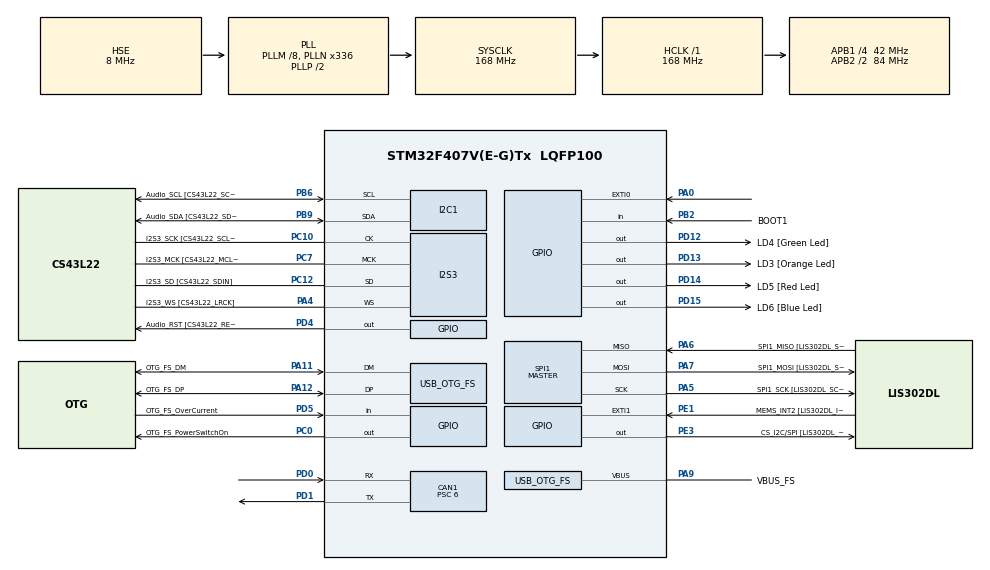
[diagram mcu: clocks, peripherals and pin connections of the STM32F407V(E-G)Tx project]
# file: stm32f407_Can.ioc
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CAN1.BS1=CAN_BS1_11TQ
CAN1.BS2=CAN_BS2_2TQ
CAN1.CalculateBaudRate=500000
CAN1.CalculateTimeBit=2000
CAN1.CalculateTimeQuantum=142.85714285714286
CAN1.Mode=CAN_MODE_NORMAL
CAN1.Prescaler=6
I2S3.AudioFreq-Half_Duplex_Master=I2S_AUDIOFREQ_96K
I2S3.ErrorAudioFreq=-2.34 %
I2S3.ErrorAudioFreq-Half_Duplex_Master=0.8 %
I2S3.FullDuplexMode=I2S_FULLDUPLEXMODE_DISABLE
I2S3.Instance=SPI$Index
I2S3.RealAudioFreq=93.75 KHz
I2S3.RealAudioFreq-Half_Duplex_Master=96.774 KHz
I2S3.VirtualMode=I2S_MODE_MASTER
Mcu.Family=STM32F4
Mcu.Name=STM32F407V(E-G)Tx
Mcu.Package=LQFP100
NVIC.CAN1_RX0_IRQn=true\:0\:0\:false\:false\:true\:true\:true\:true
NVIC.EXTI0_IRQn=true\:0\:0\:false\:false\:true\:true\:true\:true
NVIC.OTG_FS_IRQn=true\:0\:0\:false\:false\:true\:true\:true\:true
NVIC.PriorityGroup=NVIC_PRIORITYGROUP_0
PA0-WKUP.Signal=GPXTI0
PA10.GPIO_Label=OTG_FS_ID
PA10.GPIO_Mode=GPIO_MODE_AF_PP
PA10.GPIO_PuPd=GPIO_NOPULL
PA10.GPIO_Speed=GPIO_SPEED_FREQ_LOW
PA10.Signal=USB_OTG_FS_ID
PA11.GPIO_Label=OTG_FS_DM
PA11.GPIO_Mode=GPIO_MODE_AF_PP
PA11.GPIO_PuPd=GPIO_NOPULL
PA11.GPIO_Speed=GPIO_SPEED_FREQ_LOW
PA11.Mode=Host_Only
PA11.Signal=USB_OTG_FS_DM
PA12.GPIO_Label=OTG_FS_DP
PA12.GPIO_Mode=GPIO_MODE_AF_PP
PA12.GPIO_PuPd=GPIO_NOPULL
PA12.GPIO_Speed=GPIO_SPEED_FREQ_LOW
PA12.Mode=Host_Only
PA12.Signal=USB_OTG_FS_DP
PA13.GPIO_Label=SWDIO
PA13.Mode=Serial_Wire
PA13.Signal=SYS_JTMS-SWDIO
PA14.GPIO_Label=SWCLK
PA14.Mode=Serial_Wire
PA14.Signal=SYS_JTCK-SWCLK
PA4.GPIO_Label=I2S3_WS [CS43L22_LRCK]
PA4.GPIO_Mode=GPIO_MODE_AF_PP
PA4.GPIO_PuPd=GPIO_NOPULL
PA4.GPIO_Speed=GPIO_SPEED_FREQ_LOW
PA4.Mode=Half_Duplex_Master
PA4.Signal=I2S3_WS
PA5.GPIO_Label=SPI1_SCK [LIS302DL_SCL/SPC]
PA5.GPIO_Mode=GPIO_MODE_AF_PP
PA5.GPIO_PuPd=GPIO_NOPULL
PA5.GPIO_Speed=GPIO_SPEED_FREQ_LOW
PA5.Mode=Full_Duplex_Master
PA5.Signal=SPI1_SCK
PA6.GPIO_Label=SPI1_MISO [LIS302DL_SDO]
PA6.GPIO_Mode=GPIO_MODE_AF_PP
PA6.GPIO_PuPd=GPIO_NOPULL
PA6.GPIO_Speed=GPIO_SPEED_FREQ_LOW
PA6.Mode=Full_Duplex_Master
PA6.Signal=SPI1_MISO
PA7.GPIO_Label=SPI1_MOSI [LIS302DL_SDA/SDI/SDO]
PA7.GPIO_Mode=GPIO_MODE_AF_PP
PA7.GPIO_PuPd=GPIO_NOPULL
PA7.GPIO_Speed=GPIO_SPEED_FREQ_LOW
PA7.Mode=Full_Duplex_Master
PA7.Signal=SPI1_MOSI
PA9.GPIO_Label=VBUS_FS
PA9.GPIO_Mode=GPIO_MODE_INPUT
PA9.GPIO_PuPd=GPIO_NOPULL
PA9.Mode=Activate_VBUS
PA9.Signal=USB_OTG_FS_VBUS
PB10.GPIO_Label=CLK_IN [MP45DT02_CLK]
PB10.GPIO_Mode=GPIO_MODE_AF_PP
PB10.GPIO_PuPd=GPIO_NOPULL
PB10.GPIO_Speed=GPIO_SPEED_FREQ_LOW
PB10.Signal=I2S2_CK
PB2.GPIO_Label=BOOT1
PB2.GPIO_Mode=GPIO_MODE_INPUT
PB2.GPIO_PuPd=GPIO_NOPULL
PB2.Signal=GPIO_Input
PB3.GPIO_Label=SWO
PB3.Signal=SYS_JTDO-SWO
PB6.GPIO_Label=Audio_SCL [CS43L22_SCL]
PB6.GPIO_Mode=GPIO_MODE_AF_OD
PB6.GPIO_Pu=GPIO_PULLUP
PB6.GPIO_PuPd=GPIO_NOPULL
PB6.GPIO_Speed=GPIO_SPEED_FREQ_LOW
PB6.Mode=I2C
PB6.Signal=I2C1_SCL
PB9.GPIO_Label=Audio_SDA [CS43L22_SDA]
PB9.GPIO_Mode=GPIO_MODE_AF_OD
PB9.GPIO_Pu=GPIO_PULLUP
PB9.GPIO_PuPd=GPIO_NOPULL
PB9.GPIO_Speed=GPIO_SPEED_FREQ_LOW
PB9.Mode=I2C
PB9.Signal=I2C1_SDA
PC0.GPIO_Label=OTG_FS_PowerSwitchOn
PC0.GPIO_PuPd=GPIO_NOPULL
PC0.GPIO_Speed=GPIO_SPEED_FREQ_LOW
PC0.PinState=GPIO_PIN_SET
PC0.Signal=GPIO_Output
PC10.GPIO_Label=I2S3_SCK [CS43L22_SCLK]
PC10.GPIO_Mode=GPIO_MODE_AF_PP
PC10.GPIO_PuPd=GPIO_NOPULL
PC10.GPIO_Speed=GPIO_SPEED_FREQ_LOW
PC10.Mode=Half_Duplex_Master
PC10.Signal=I2S3_CK
PC12.GPIO_Label=I2S3_SD [CS43L22_SDIN]
PC12.GPIO_Mode=GPIO_MODE_AF_PP
PC12.GPIO_PuPd=GPIO_NOPULL
PC12.GPIO_Speed=GPIO_SPEED_FREQ_LOW
PC12.Mode=Half_Duplex_Master
PC12.Signal=I2S3_SD
PC14-OSC32_IN.GPIO_Label=PC14-OSC32_IN
PC14-OSC32_IN.Mode=LSE-External-Oscillator
PC14-OSC32_IN.Signal=RCC_OSC32_IN
PC15-OSC32_OUT.GPIO_Label=PC15-OSC32_OUT
PC15-OSC32_OUT.Mode=LSE-External-Oscillator
PC15-OSC32_OUT.Signal=RCC_OSC32_OUT
PC3.GPIO_Label=PDM_OUT [MP45DT02_DOUT]
PC3.GPIO_Mode=GPIO_MODE_AF_PP
PC3.GPIO_PuPd=GPIO_NOPULL
PC3.GPIO_Speed=GPIO_SPEED_FREQ_LOW
PC3.Signal=I2S2_SD
PC7.GPIO_Label=I2S3_MCK [CS43L22_MCLK]
PC7.GPIO_Mode=GPIO_MODE_AF_PP
PC7.GPIO_PuPd=GPIO_NOPULL
PC7.GPIO_Speed=GPIO_SPEED_FREQ_LOW
PC7.Mode=Master_Clock_Activated
PC7.Signal=I2S3_MCK
PD0.GPIO_PuPd=GPIO_PULLUP
PD0.Mode=CAN_Activate
PD0.Signal=CAN1_RX
PD1.Mode=CAN_Activate
PD1.Signal=CAN1_TX
PD12.GPIO_Label=LD4 [Green Led]
PD12.GPIO_PuPd=GPIO_NOPULL
PD12.GPIO_Speed=GPIO_SPEED_FREQ_LOW
PD12.Signal=GPIO_Output
PD13.GPIO_Label=LD3 [Orange Led]
PD13.GPIO_PuPd=GPIO_NOPULL
PD13.GPIO_Speed=GPIO_SPEED_FREQ_LOW
PD13.Signal=GPIO_Output
PD14.GPIO_Label=LD5 [Red Led]
PD14.GPIO_PuPd=GPIO_NOPULL
PD14.GPIO_Speed=GPIO_SPEED_FREQ_LOW
PD14.Signal=GPIO_Output
PD15.GPIO_Label=LD6 [Blue Led]
PD15.GPIO_PuPd=GPIO_NOPULL
PD15.GPIO_Speed=GPIO_SPEED_FREQ_LOW
PD15.Signal=GPIO_Output
PD4.GPIO_Label=Audio_RST [CS43L22_RESET]
PD4.GPIO_PuPd=GPIO_NOPULL
PD4.GPIO_Speed=GPIO_SPEED_FREQ_LOW
PD4.Signal=GPIO_Output
PD5.GPIO_Label=OTG_FS_OverCurrent
PD5.GPIO_Mode=GPIO_MODE_INPUT
PD5.GPIO_PuPd=GPIO_NOPULL
PD5.Signal=GPIO_Input
PE1.GPIO_Label=MEMS_INT2 [LIS302DL_INT2]
PE1.GPIO_ModeDefaultEXTI=GPIO_MODE_EVT_RISING
PE1.GPIO_PuPd=GPIO_NOPULL
PE1.Signal=GPXTI1
PE3.GPIO_Label=CS_I2C/SPI [LIS302DL_CS_I2C/SPI]
PE3.GPIO_PuPd=GPIO_NOPULL
PE3.GPIO_Speed=GPIO_SPEED_FREQ_LOW
PE3.Signal=GPIO_Output
PH0-OSC_IN.GPIO_Label=PH0-OSC_IN
PH0-OSC_IN.Mode=HSE-External-Oscillator
PH0-OSC_IN.Signal=RCC_OSC_IN
PH1-OSC_OUT.GPIO_Label=PH1-OSC_OUT
PH1-OSC_OUT.Mode=HSE-External-Oscillator
PH1-OSC_OUT.Signal=RCC_OSC_OUT
ProjectManager.HeapSize=0x200
ProjectManager.StackSize=0x400
ProjectManager.TargetToolchain=MDK-ARM V5.32
RCC.48MHZClocksFreq_Value=48000000
RCC.AHBFreq_Value=168000000
RCC.APB1CLKDivider=RCC_HCLK_DIV4
RCC.APB1Freq_Value=42000000
RCC.APB1TimFreq_Value=84000000
RCC.APB2CLKDivider=RCC_HCLK_DIV2
RCC.APB2Freq_Value=84000000
RCC.APB2TimFreq_Value=168000000
RCC.CortexFreq_Value=168000000
RCC.HCLKFreq_Value=168000000
RCC.HSE_VALUE=8000000
RCC.HSI_VALUE=16000000
RCC.PLLM=8
RCC.PLLN=336
RCC.PLLQ=7
RCC.SYSCLKFreq_VALUE=168000000
RCC.SYSCLKSource=RCC_SYSCLKSOURCE_PLLCLK
RCC.VCOOutputFreq_Value=336000000
SPI1.BaudRatePrescaler-Full_Duplex_Master=SPI_BAUDRATEPRESCALER_2
SPI1.CalculateBaudRate-Full_Duplex_Master=42.0 MBits/s
SPI1.Direction=SPI_DIRECTION_2LINES
SPI1.Mode=SPI_MODE_MASTER
SPI1.Mode-Full_Duplex_Master=SPI_MODE_MASTER
SPI1.VirtualType=VM_MASTER
USB_HOST.BSP.number=1
USB_HOST.USBH_HandleTypeDef-CDC_FS=hUsbHostFS
USB_HOST.VirtualModeFS=Cdc
USB_HOST0.BSP.STBoard=false
USB_HOST0.BSP.api=Unknown
USB_HOST0.BSP.instance=PC0
USB_HOST0.BSP.ip=GPIO
USB_HOST0.BSP.mode=Output
USB_HOST0.BSP.name=Drive_VBUS_FS
USB_HOST0.BSP.solution=PC0
USB_OTG_FS.VirtualMode=Host_Only
USB_OTG_FS.phy_itface=HCD_PHY_EMBEDDED
VP_USB_HOST_VS_USB_HOST_CDC_FS.Mode=CDC_FS
board=STM32F407G-DISC1

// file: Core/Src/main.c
/* USER CODE BEGIN Header */
/**
  ******************************************************************************
  * @file           : main.c
  * @brief          : Main program body
  ******************************************************************************
  * @attention
  *
  * Copyright (c) 2024 STMicroelectronics.
  * All rights reserved.
  *
  * This software is licensed under terms that can be found in the LICENSE file
  * in the root directory of this software component.
  * If no LICENSE file comes with this software, it is provided AS-IS.
  *
  ******************************************************************************
  */
/* USER CODE END Header */
#include "main.h"
#include "usb_host.h"

CAN_HandleTypeDef hcan1;

I2C_HandleTypeDef hi2c1;

I2S_HandleTypeDef hi2s3;

SPI_HandleTypeDef hspi1;

void SystemClock_Config(void);
static void MX_GPIO_Init(void);
static void MX_CAN1_Init(void);
static void MX_I2C1_Init(void);
static void MX_I2S3_Init(void);
static void MX_SPI1_Init(void);
void MX_USB_HOST_Process(void);

/* USER CODE BEGIN PFP */
void HAL_GPIO_EXTI_Callback(uint16_t GPIO_Pin);
void HAL_CAN_RxFifo0MsgPendingCallback(CAN_HandleTypeDef *hcan);
/* USER CODE END PFP */

/* USER CODE BEGIN 0 */

CAN_TxHeaderTypeDef txHeader;
CAN_RxHeaderTypeDef rxHeader;

uint32_t TxMailbox;
uint8_t rxData[8];
uint8_t txData[8] = {'T','E','S','T' };
int datacheck = 0;

/* USER CODE END 0 */

int main(void)
{

  /* MCU Configuration--------------------------------------------------------*/

  /* Reset of all peripherals, Initializes the Flash interface and the Systick. */
  HAL_Init();

  /* Configure the system clock */
  SystemClock_Config();

  /* Initialize all configured peripherals */
  MX_GPIO_Init();
  MX_CAN1_Init();
  MX_I2C1_Init();
  MX_I2S3_Init();
  MX_SPI1_Init();
  MX_USB_HOST_Init();
  /* USER CODE BEGIN 2 */
	if(HAL_CAN_Start(&hcan1))
	{
		Error_Handler();
	}
	if(HAL_CAN_ActivateNotification(&hcan1, CAN_IT_RX_FIFO0_MSG_PENDING) != HAL_OK)
	{
		Error_Handler();
	}
	txHeader.DLC = 4;
	txHeader.IDE = CAN_ID_STD;
	txHeader.RTR = CAN_RTR_DATA;
	txHeader.StdId = 0x407;

	HAL_CAN_AddTxMessage(&hcan1, &txHeader, txData, &TxMailbox);
	txHeader.DLC = 2;
  /* USER CODE END 2 */

  /* Infinite loop */
  while (1)
  {
    MX_USB_HOST_Process();
		HAL_CAN_AddTxMessage(&hcan1, &txHeader, txData, &TxMailbox);
    /* USER CODE BEGIN 3 */
		if(datacheck)
		{
			HAL_GPIO_TogglePin(GPIOD,GPIO_PIN_12);
			HAL_Delay(1000);
			HAL_GPIO_TogglePin(GPIOD,GPIO_PIN_12);
			HAL_Delay(1000);
			datacheck = 0;
		}

  }
  /* USER CODE END 3 */
}

void SystemClock_Config(void)
{
  RCC_OscInitTypeDef RCC_OscInitStruct = {0};
  RCC_ClkInitTypeDef RCC_ClkInitStruct = {0};

  /** Configure the main internal regulator output voltage
  */
  __HAL_RCC_PWR_CLK_ENABLE();
  __HAL_PWR_VOLTAGESCALING_CONFIG(PWR_REGULATOR_VOLTAGE_SCALE1);

  /** Initializes the RCC Oscillators according to the specified parameters
  * in the RCC_OscInitTypeDef structure.
  */
  RCC_OscInitStruct.OscillatorType = RCC_OSCILLATORTYPE_HSE;
  RCC_OscInitStruct.HSEState = RCC_HSE_ON;
  RCC_OscInitStruct.PLL.PLLState = RCC_PLL_ON;
  RCC_OscInitStruct.PLL.PLLSource = RCC_PLLSOURCE_HSE;
  RCC_OscInitStruct.PLL.PLLM = 8;
  RCC_OscInitStruct.PLL.PLLN = 336;
  RCC_OscInitStruct.PLL.PLLP = RCC_PLLP_DIV2;
  RCC_OscInitStruct.PLL.PLLQ = 7;
  if (HAL_RCC_OscConfig(&RCC_OscInitStruct) != HAL_OK)
  {
    Error_Handler();
  }

  /** Initializes the CPU, AHB and APB buses clocks
  */
  RCC_ClkInitStruct.ClockType = RCC_CLOCKTYPE_HCLK|RCC_CLOCKTYPE_SYSCLK
                              |RCC_CLOCKTYPE_PCLK1|RCC_CLOCKTYPE_PCLK2;
  RCC_ClkInitStruct.SYSCLKSource = RCC_SYSCLKSOURCE_PLLCLK;
  RCC_ClkInitStruct.AHBCLKDivider = RCC_SYSCLK_DIV1;
  RCC_ClkInitStruct.APB1CLKDivider = RCC_HCLK_DIV4;
  RCC_ClkInitStruct.APB2CLKDivider = RCC_HCLK_DIV2;

  if (HAL_RCC_ClockConfig(&RCC_ClkInitStruct, FLASH_LATENCY_5) != HAL_OK)
  {
    Error_Handler();
  }
}

static void MX_CAN1_Init(void)
{

  hcan1.Instance = CAN1;
  hcan1.Init.Prescaler = 6;
  hcan1.Init.Mode = CAN_MODE_NORMAL;
  hcan1.Init.SyncJumpWidth = CAN_SJW_1TQ;
  hcan1.Init.TimeSeg1 = CAN_BS1_11TQ;
  hcan1.Init.TimeSeg2 = CAN_BS2_2TQ;
  hcan1.Init.TimeTriggeredMode = DISABLE;
  hcan1.Init.AutoBusOff = DISABLE;
  hcan1.Init.AutoWakeUp = DISABLE;
  hcan1.Init.AutoRetransmission = DISABLE;
  hcan1.Init.ReceiveFifoLocked = DISABLE;
  hcan1.Init.TransmitFifoPriority = DISABLE;
  if (HAL_CAN_Init(&hcan1) != HAL_OK)
  {
    Error_Handler();
  }
  /* USER CODE BEGIN CAN1_Init 2 */
//	CAN_FilterTypeDef CanFilter;
//	CanFilter.FilterActivation = CAN_FILTER_ENABLE;
//	CanFilter.FilterBank = 0;
//	CanFilter.FilterFIFOAssignment = CAN_FILTER_FIFO0;
//	CanFilter.FilterIdHigh = 0;
//	CanFilter.FilterIdLow = 0;
//	CanFilter.FilterMaskIdHigh = 0;
//	CanFilter.FilterMaskIdLow = 0;
//	CanFilter.FilterMode = CAN_FILTERMODE_IDMASK;
//	CanFilter.FilterScale = CAN_FILTERSCALE_32BIT;
//	CanFilter.SlaveStartFilterBank = 20;
//	if(HAL_CAN_ConfigFilter(&hcan1, &CanFilter) != HAL_OK)
//	{
//		Error_Handler();
//	}
  /* USER CODE END CAN1_Init 2 */

}

static void MX_I2C1_Init(void)
{

  hi2c1.Instance = I2C1;
  hi2c1.Init.ClockSpeed = 100000;
  hi2c1.Init.DutyCycle = I2C_DUTYCYCLE_2;
  hi2c1.Init.OwnAddress1 = 0;
  hi2c1.Init.AddressingMode = I2C_ADDRESSINGMODE_7BIT;
  hi2c1.Init.DualAddressMode = I2C_DUALADDRESS_DISABLE;
  hi2c1.Init.OwnAddress2 = 0;
  hi2c1.Init.GeneralCallMode = I2C_GENERALCALL_DISABLE;
  hi2c1.Init.NoStretchMode = I2C_NOSTRETCH_DISABLE;
  if (HAL_I2C_Init(&hi2c1) != HAL_OK)
  {
    Error_Handler();
  }

}

static void MX_I2S3_Init(void)
{

  hi2s3.Instance = SPI3;
  hi2s3.Init.Mode = I2S_MODE_MASTER_TX;
  hi2s3.Init.Standard = I2S_STANDARD_PHILIPS;
  hi2s3.Init.DataFormat = I2S_DATAFORMAT_16B;
  hi2s3.Init.MCLKOutput = I2S_MCLKOUTPUT_ENABLE;
  hi2s3.Init.AudioFreq = I2S_AUDIOFREQ_96K;
  hi2s3.Init.CPOL = I2S_CPOL_LOW;
  hi2s3.Init.ClockSource = I2S_CLOCK_PLL;
  hi2s3.Init.FullDuplexMode = I2S_FULLDUPLEXMODE_DISABLE;
  if (HAL_I2S_Init(&hi2s3) != HAL_OK)
  {
    Error_Handler();
  }

}

static void MX_SPI1_Init(void)
{

  /* SPI1 parameter configuration*/
  hspi1.Instance = SPI1;
  hspi1.Init.Mode = SPI_MODE_MASTER;
  hspi1.Init.Direction = SPI_DIRECTION_2LINES;
  hspi1.Init.DataSize = SPI_DATASIZE_8BIT;
  hspi1.Init.CLKPolarity = SPI_POLARITY_LOW;
  hspi1.Init.CLKPhase = SPI_PHASE_1EDGE;
  hspi1.Init.NSS = SPI_NSS_SOFT;
  hspi1.Init.BaudRatePrescaler = SPI_BAUDRATEPRESCALER_2;
  hspi1.Init.FirstBit = SPI_FIRSTBIT_MSB;
  hspi1.Init.TIMode = SPI_TIMODE_DISABLE;
  hspi1.Init.CRCCalculation = SPI_CRCCALCULATION_DISABLE;
  hspi1.Init.CRCPolynomial = 10;
  if (HAL_SPI_Init(&hspi1) != HAL_OK)
  {
    Error_Handler();
  }

}

static void MX_GPIO_Init(void)
{
  GPIO_InitTypeDef GPIO_InitStruct = {0};

  /* GPIO Ports Clock Enable */
  __HAL_RCC_GPIOE_CLK_ENABLE();
  __HAL_RCC_GPIOC_CLK_ENABLE();
  __HAL_RCC_GPIOH_CLK_ENABLE();
  __HAL_RCC_GPIOA_CLK_ENABLE();
  __HAL_RCC_GPIOB_CLK_ENABLE();
  __HAL_RCC_GPIOD_CLK_ENABLE();

  /*Configure GPIO pin Output Level */
  HAL_GPIO_WritePin(CS_I2C_SPI_GPIO_Port, CS_I2C_SPI_Pin, GPIO_PIN_RESET);

  /*Configure GPIO pin Output Level */
  HAL_GPIO_WritePin(OTG_FS_PowerSwitchOn_GPIO_Port, OTG_FS_PowerSwitchOn_Pin, GPIO_PIN_SET);

  /*Configure GPIO pin Output Level */
  HAL_GPIO_WritePin(GPIOD, LD4_Pin|LD3_Pin|LD5_Pin|LD6_Pin
                          |Audio_RST_Pin, GPIO_PIN_RESET);

  /*Configure GPIO pin : CS_I2C_SPI_Pin */
  GPIO_InitStruct.Pin = CS_I2C_SPI_Pin;
  GPIO_InitStruct.Mode = GPIO_MODE_OUTPUT_PP;
  GPIO_InitStruct.Pull = GPIO_NOPULL;
  GPIO_InitStruct.Speed = GPIO_SPEED_FREQ_LOW;
  HAL_GPIO_Init(CS_I2C_SPI_GPIO_Port, &GPIO_InitStruct);

  /*Configure GPIO pin : OTG_FS_PowerSwitchOn_Pin */
  GPIO_InitStruct.Pin = OTG_FS_PowerSwitchOn_Pin;
  GPIO_InitStruct.Mode = GPIO_MODE_OUTPUT_PP;
  GPIO_InitStruct.Pull = GPIO_NOPULL;
  GPIO_InitStruct.Speed = GPIO_SPEED_FREQ_LOW;
  HAL_GPIO_Init(OTG_FS_PowerSwitchOn_GPIO_Port, &GPIO_InitStruct);

  /*Configure GPIO pin : PDM_OUT_Pin */
  GPIO_InitStruct.Pin = PDM_OUT_Pin;
  GPIO_InitStruct.Mode = GPIO_MODE_AF_PP;
  GPIO_InitStruct.Pull = GPIO_NOPULL;
  GPIO_InitStruct.Speed = GPIO_SPEED_FREQ_LOW;
  GPIO_InitStruct.Alternate = GPIO_AF5_SPI2;
  HAL_GPIO_Init(PDM_OUT_GPIO_Port, &GPIO_InitStruct);

  /*Configure GPIO pin : PA0 */
  GPIO_InitStruct.Pin = GPIO_PIN_0;
  GPIO_InitStruct.Mode = GPIO_MODE_IT_RISING;
  GPIO_InitStruct.Pull = GPIO_NOPULL;
  HAL_GPIO_Init(GPIOA, &GPIO_InitStruct);

  /*Configure GPIO pin : BOOT1_Pin */
  GPIO_InitStruct.Pin = BOOT1_Pin;
  GPIO_InitStruct.Mode = GPIO_MODE_INPUT;
  GPIO_InitStruct.Pull = GPIO_NOPULL;
  HAL_GPIO_Init(BOOT1_GPIO_Port, &GPIO_InitStruct);

  /*Configure GPIO pin : CLK_IN_Pin */
  GPIO_InitStruct.Pin = CLK_IN_Pin;
  GPIO_InitStruct.Mode = GPIO_MODE_AF_PP;
  GPIO_InitStruct.Pull = GPIO_NOPULL;
  GPIO_InitStruct.Speed = GPIO_SPEED_FREQ_LOW;
  GPIO_InitStruct.Alternate = GPIO_AF5_SPI2;
  HAL_GPIO_Init(CLK_IN_GPIO_Port, &GPIO_InitStruct);

  /*Configure GPIO pins : LD4_Pin LD3_Pin LD5_Pin LD6_Pin
                           Audio_RST_Pin */
  GPIO_InitStruct.Pin = LD4_Pin|LD3_Pin|LD5_Pin|LD6_Pin
                          |Audio_RST_Pin;
  GPIO_InitStruct.Mode = GPIO_MODE_OUTPUT_PP;
  GPIO_InitStruct.Pull = GPIO_NOPULL;
  GPIO_InitStruct.Speed = GPIO_SPEED_FREQ_LOW;
  HAL_GPIO_Init(GPIOD, &GPIO_InitStruct);

  /*Configure GPIO pin : OTG_FS_OverCurrent_Pin */
  GPIO_InitStruct.Pin = OTG_FS_OverCurrent_Pin;
  GPIO_InitStruct.Mode = GPIO_MODE_INPUT;
  GPIO_InitStruct.Pull = GPIO_NOPULL;
  HAL_GPIO_Init(OTG_FS_OverCurrent_GPIO_Port, &GPIO_InitStruct);

  /*Configure GPIO pin : MEMS_INT2_Pin */
  GPIO_InitStruct.Pin = MEMS_INT2_Pin;
  GPIO_InitStruct.Mode = GPIO_MODE_EVT_RISING;
  GPIO_InitStruct.Pull = GPIO_NOPULL;
  HAL_GPIO_Init(MEMS_INT2_GPIO_Port, &GPIO_InitStruct);

  /* EXTI interrupt init*/
  HAL_NVIC_SetPriority(EXTI0_IRQn, 0, 0);
  HAL_NVIC_EnableIRQ(EXTI0_IRQn);

}

/* USER CODE BEGIN 4 */
void HAL_GPIO_EXTI_Callback(uint16_t GPIO_Pin)
{
	if(GPIO_Pin == GPIO_PIN_0)
	{
		txData[0] = 'R';
		txData[1] = 'Q';
		HAL_CAN_AddTxMessage(&hcan1, &txHeader, txData, &TxMailbox);
		HAL_GPIO_WritePin(GPIOD, GPIO_PIN_13, GPIO_PIN_SET);
		HAL_GPIO_WritePin(GPIOD, GPIO_PIN_12, GPIO_PIN_RESET);
	}
}

void HAL_CAN_RxFifo0MsgPendingCallback(CAN_HandleTypeDef *hcan)
{
	HAL_CAN_GetRxMessage(&hcan1, CAN_RX_FIFO0,&rxHeader, rxData);
	if(rxHeader.DLC == 2)
	{
		datacheck = 1;
	}
}

/* USER CODE END 4 */

void Error_Handler(void)
{
  while (1)
  {
  }
}
